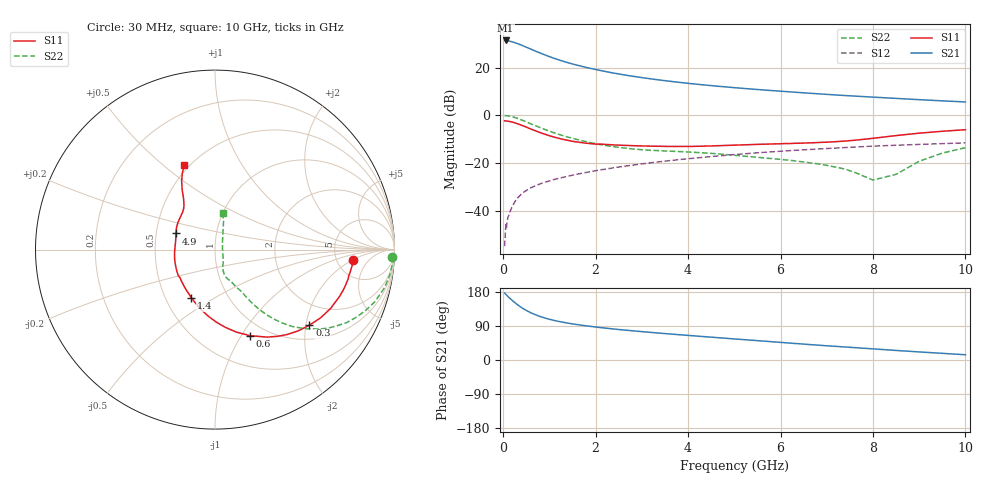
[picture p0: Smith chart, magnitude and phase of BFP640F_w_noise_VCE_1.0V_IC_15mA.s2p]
! Infineon Technologies  Discrete & RF Semiconductors
! BFP640F
! VCE =  1.0 V,  IC =  15 mA
! Common Emitter S-Parameters:  Apr 2013
# GHz  S  MA  R  50
!  f  S11  S21  S12  S22
! GHz  MAG  ANG  MAG  ANG  MAG  ANG  MAG  ANG
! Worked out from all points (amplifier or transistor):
!   99 points, 30 MHz to 10 GHz, reference 50 ohm
!   highest |S21| = 31.5 dB at 50 MHz (marker M1)
!   |S21| within 3 dB of that: start of sweep to 521 MHz
!   unconditionally stable (mu >= 1): 2.631 GHz to end of sweep
!   at 350 MHz: K = 0.29, MSG = 31.8 dB, |S12| = -33.9 dB
!   at 3.5 GHz: K = 1.04, MAG = 15.7 dB, |S12| = -19.2 dB
!   at 10 GHz: K = 1.05, MAG = 7.2 dB, |S12| = -11.5 dB
!   lowest NFmin = 0.74 dB at 450 MHz
!   S11 on the Smith chart (normalised r, x): 30 MHz: 7.17, -2.00; 300 MHz: 1.36, -2.09; 600 MHz: 0.83, -1.09; 1.4 GHz: 0.67, -0.40; 4.9 GHz: 0.63, +0.12; 10 GHz: 0.47, +0.59
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0.03  0.7711 -4.2  37.02 176.6  0.0018 86.6  0.9897 -2.4
0.05  0.7685 -7.0  37.47 174.3  0.0041 91.4  0.9929 -4.3
0.11  0.754 -15.3  36.73 166.7  0.0076 87.6  0.9769 -10.1
0.15  0.7418 -20.5  36 162.2  0.0098 81.2  0.9616 -13.7
0.2  0.723 -26.9  34.94 156.7  0.0124 78.0  0.9365 -18.1
0.3  0.6738 -38.7  32.51 146.7  0.018 74.5  0.8719 -25.7
0.4  0.6204 -49.7  29.78 138.1  0.0227 70.5  0.7999 -32.1
0.5  0.5682 -59.1  27.07 130.8  0.0266 68.1  0.73 -37.3
0.6  0.5182 -67.8  24.61 124.5  0.0303 66.0  0.6646 -41.5
0.7  0.4747 -75.5  22.35 119.3  0.0336 64.3  0.6062 -44.9
0.8  0.4357 -82.7  20.38 114.7  0.0367 63.5  0.5535 -47.6
0.9  0.4034 -89.1  18.66 110.8  0.0395 62.8  0.5072 -49.7
1.1  0.3511 -100.9  15.84 104.4  0.0452 61.9  0.4317 -52.8
1.4  0.2996 -116.0  12.81 97.3  0.0529 61.3  0.3514 -55.6
1.7  0.2684 -129.4  10.72 91.7  0.061 60.8  0.2947 -57.1
2.4  0.2402 -154.4  7.719 81.7  0.0799 59.4  0.2203 -61.8
3.4  0.225 -178.5  5.516 70.7  0.1069 55.9  0.1812 -66.2
4.9  0.2356 157.5  3.902 56.5  0.148 49.1  0.1484 -69.4
5.1  0.2394 155.0  3.758 54.7  0.1532 48.0  0.1431 -69.5
6.7  0.2669 135.3  2.893 40.1  0.1943 38.8  0.0993 -63.8
8.5  0.3776 118.9  2.277 25.2  0.2368 27.8  0.058 44.6
10  0.5013 109.9  1.916 13.8  0.2653 19.1  0.2102 78.3
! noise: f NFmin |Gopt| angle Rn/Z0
0.45  0.74  0.06  6  0.05
0.9  0.75  0.06  19  0.06
1.5  0.76  0.05  35  0.07
1.9  0.77  0.05  51  0.07
2.4  0.79  0.04  76  0.08
3.5  0.88  0.05  131  0.09
5.5  1.07  0.14  -142  0.12
10  1.56  0.4  -93  0.36
